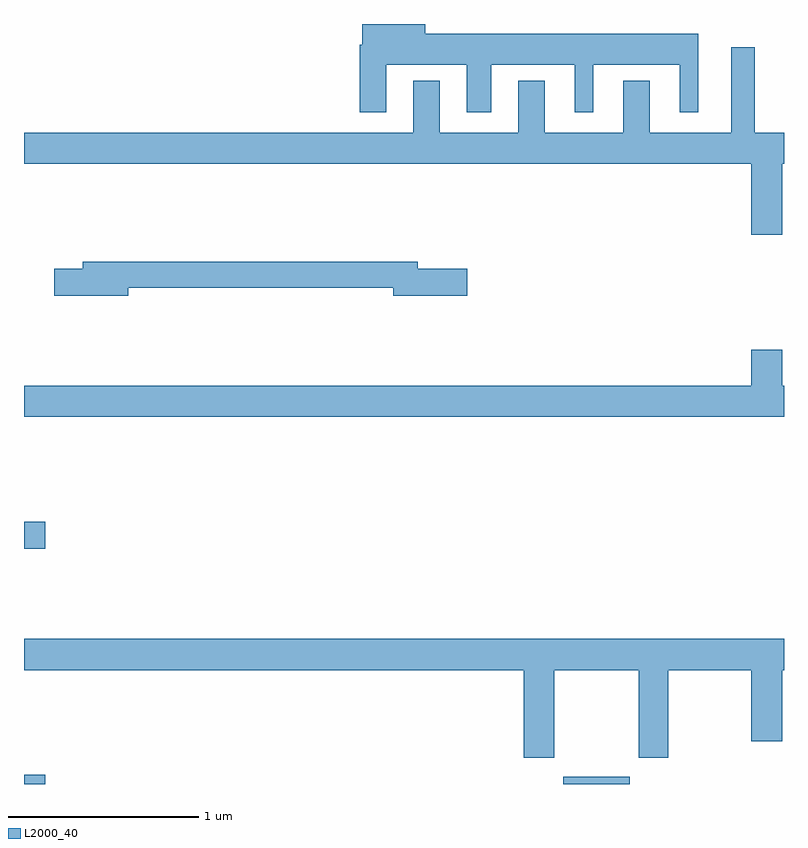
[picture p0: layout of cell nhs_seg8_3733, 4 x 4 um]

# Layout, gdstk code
import gdstk
lib = gdstk.Library(unit=1e-6, precision=1e-09)
def R(c, l, rs):  # rectangles x0, y0, x1, y1
    for r in rs: c.add(gdstk.rectangle(r[:2], r[2:], *l))
def P(c, l, *ps):  # polygons
    for p in ps: c.add(gdstk.Polygon(p, *l))
L2000_40 = (2000, 40)

nhs_seg8_3733 = lib.new_cell('nhs_seg8_3733')
R(nhs_seg8_3733, L2000_40, [(341,1115.9,341.113,1115.948), (343.838,1115.9,344.188,1115.938), (341,1117.138,341.113,1117.28)])
P(nhs_seg8_3733, L2000_40, [(342.907,1119.686),(343.331,1119.686),(343.331,1119.435),(343.459,1119.435),(343.459,1119.686),(343.898,1119.686),(343.898,1119.435),(343.996,1119.435),(343.996,1119.686),(344.45,1119.686),(344.45,1119.435),(344.548,1119.435),(344.548,1119.85),(343.111,1119.85),(343.111,1119.9),(342.779,1119.9),(342.779,1119.79),(342.767,1119.79),(342.767,1119.435),(342.907,1119.435)],
  [(344.992,1119.164),(345,1119.164),(345,1119.328),(344.845,1119.328),(344.845,1119.778),(344.723,1119.778),(344.723,1119.328),(344.293,1119.328),(344.293,1119.601),(344.153,1119.601),(344.153,1119.328),(343.741,1119.328),(343.741,1119.601),(343.601,1119.601),(343.601,1119.328),(343.189,1119.328),(343.189,1119.601),(343.049,1119.601),(343.049,1119.328),(341,1119.328),(341,1119.164),(344.828,1119.164),(344.828,1118.79),(344.992,1118.79)],
  [(341.548,1118.512),(342.944,1118.512),(342.944,1118.47),(343.333,1118.47),(343.333,1118.612),(343.072,1118.612),(343.072,1118.648),(341.309,1118.648),(341.309,1118.612),(341.16,1118.612),(341.16,1118.47),(341.548,1118.47)],
  [(345,1117.996),(344.992,1117.996),(344.992,1118.185),(344.828,1118.185),(344.828,1117.996),(341,1117.996),(341,1117.832),(345,1117.832)],
  [(343.791,1116.5),(344.236,1116.5),(344.236,1116.039),(344.391,1116.039),(344.391,1116.5),(344.828,1116.5),(344.828,1116.126),(344.992,1116.126),(344.992,1116.5),(345,1116.5),(345,1116.664),(341,1116.664),(341,1116.5),(343.631,1116.5),(343.631,1116.039),(343.791,1116.039)])

lib.write_gds('nhs_seg8_3733.gds')
